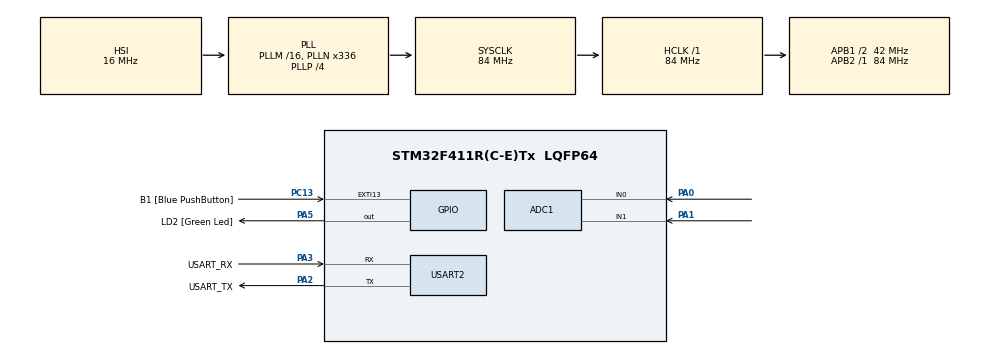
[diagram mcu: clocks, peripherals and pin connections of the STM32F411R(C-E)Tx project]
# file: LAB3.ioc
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Mcu.Family=STM32F4
PC15-OSC32_OUT.Mode=LSE-External-Oscillator
RCC.CortexFreq_Value=84000000
ADC1.Rank-0\#ChannelRegularConversion=1
VP_ADC1_TempSens_Input.Mode=IN-TempSens
PC13-ANTI_TAMP.GPIO_Label=B1 [Blue PushButton]
PA14.GPIO_Label=TCK
PH1\ -\ OSC_OUT.Mode=HSE-External-Clock-Source
RCC.APB1CLKDivider=RCC_HCLK_DIV2
PC14-OSC32_IN.Signal=RCC_OSC32_IN
RCC.SYSCLKSource=RCC_SYSCLKSOURCE_PLLCLK
ProjectManager.StackSize=0x400
PA0-WKUP.Signal=ADCx_IN0
PA13.Signal=SYS_JTMS-SWDIO
PA3.Mode=Asynchronous
PH0\ -\ OSC_IN.Mode=HSE-External-Clock-Source
PH0\ -\ OSC_IN.Signal=RCC_OSC_IN
ProjectManager.TargetToolchain=STM32CubeIDE
RCC.HCLKFreq_Value=84000000
RCC.APB2TimFreq_Value=84000000
PC15-OSC32_OUT.Signal=RCC_OSC32_OUT
PA1.Signal=ADCx_IN1
RCC.AHBFreq_Value=84000000
PA5.Signal=GPIO_Output
ADC1.Channel-0\#ChannelRegularConversion=ADC_CHANNEL_0
RCC.HSE_VALUE=8000000
PH1\ -\ OSC_OUT.Signal=RCC_OSC_OUT
board=NUCLEO-F411RE
PC13-ANTI_TAMP.Signal=GPXTI13
RCC.VCOOutputFreq_Value=336000000
RCC.APB2Freq_Value=84000000
PC14-OSC32_IN.Mode=LSE-External-Oscillator
PA14.Mode=Serial_Wire
SH.ADCx_IN0.0=ADC1_IN0,IN0
PA13.Mode=Serial_Wire
Mcu.Name=STM32F411R(C-E)Tx
ADC1.SamplingTime-0\#ChannelRegularConversion=ADC_SAMPLETIME_3CYCLES
PA2.Signal=USART2_TX
PA13.GPIO_Label=TMS
RCC.FLatency-AdvancedSettings=FLASH_LATENCY_2
RCC.48MHZClocksFreq_Value=84000000
PB3.Signal=SYS_JTDO-SWO
RCC.SYSCLKFreq_VALUE=84000000
Mcu.Package=LQFP64
ADC1.master=1
PA5.GPIO_Label=LD2 [Green Led]
USART2.VirtualMode=VM_ASYNC
PC13-ANTI_TAMP.GPIO_ModeDefaultEXTI=GPIO_MODE_IT_FALLING
PA2.GPIO_Label=USART_TX
PA14.Signal=SYS_JTCK-SWCLK
ProjectManager.HeapSize=0x200
RCC.HSI_VALUE=16000000
RCC.PLLP=RCC_PLLP_DIV4
NVIC.PriorityGroup=NVIC_PRIORITYGROUP_0
ADC1.NbrOfConversionFlag=1
SH.ADCx_IN1.0=ADC1_IN1,IN1
RCC.PLLN=336
RCC.APB1TimFreq_Value=84000000
PA2.Mode=Asynchronous
RCC.APB1Freq_Value=42000000
PA3.GPIO_Label=USART_RX
PA3.Signal=USART2_RX
PB3.GPIO_Label=SWO

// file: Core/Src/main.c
/* USER CODE BEGIN Header */
/**
 ******************************************************************************
 * @file           : main.c
 * @brief          : Main program body
 ******************************************************************************
 * @attention
 *
 * <h2><center>&copy; Copyright (c) 2021 STMicroelectronics.
 * All rights reserved.</center></h2>
 *
 * This software component is licensed by ST under BSD 3-Clause license,
 * the "License"; You may not use this file except in compliance with the
 * License. You may obtain a copy of the License at:
 *                        opensource.org/licenses/BSD-3-Clause
 *
 ******************************************************************************
 */
/* USER CODE END Header */
#include "main.h"

ADC_HandleTypeDef hadc1;

UART_HandleTypeDef huart2;

/* USER CODE BEGIN PV */
uint16_t adcdata[2] = { 0 };

//SwitchState
GPIO_PinState SwitchState[2];

//Given
float ADCOutputConverted = 0;
uint16_t ADCMode = 0;

typedef struct {
	ADC_ChannelConfTypeDef Config;
	uint16_t data;
} ADCStructure;

ADCStructure ADCChannel[3] = { 0 };

/* USER CODE END PV */

void SystemClock_Config(void);
static void MX_GPIO_Init(void);
static void MX_USART2_UART_Init(void);
static void MX_ADC1_Init(void);
/* USER CODE BEGIN PFP */
void ADCPollingMethodInit();
void ADCPollingMethodUpdate();
/* USER CODE END PFP */

int main(void)
{

  /* MCU Configuration--------------------------------------------------------*/

  /* Reset of all peripherals, Initializes the Flash interface and the Systick. */
  HAL_Init();

  /* Configure the system clock */
  SystemClock_Config();

  /* Initialize all configured peripherals */
  MX_GPIO_Init();
  MX_USART2_UART_Init();
  MX_ADC1_Init();
  /* USER CODE BEGIN 2 */
	ADCPollingMethodInit();

  /* USER CODE END 2 */

  /* Infinite loop */
	while (1) {

    /* USER CODE BEGIN 3 */

		ADCPollingMethodUpdate();
		SwitchState[0] = HAL_GPIO_ReadPin(GPIOC, GPIO_PIN_13);
		if (SwitchState[1] == 0 && SwitchState[0] == 1)
		{
			if (ADCMode == 0)
			{
				ADCMode = 1;
			}
			else
			{
				ADCMode = 0;
			}
		}
		SwitchState[1] = SwitchState[0];

		if (ADCMode == 0)
		{
			ADCOutputConverted = (ADCChannel[0].data)*(3.3*1000)/4096;
		}
		if (ADCMode == 1)
		{
			ADCOutputConverted = (((((ADCChannel[2].data)*3.3)/4096) - 0.76)/2.5)+25;
		}
	}
  /* USER CODE END 3 */
}

void SystemClock_Config(void)
{
  RCC_OscInitTypeDef RCC_OscInitStruct = {0};
  RCC_ClkInitTypeDef RCC_ClkInitStruct = {0};

  /** Configure the main internal regulator output voltage
  */
  __HAL_RCC_PWR_CLK_ENABLE();
  __HAL_PWR_VOLTAGESCALING_CONFIG(PWR_REGULATOR_VOLTAGE_SCALE1);
  /** Initializes the RCC Oscillators according to the specified parameters
  * in the RCC_OscInitTypeDef structure.
  */
  RCC_OscInitStruct.OscillatorType = RCC_OSCILLATORTYPE_HSI;
  RCC_OscInitStruct.HSIState = RCC_HSI_ON;
  RCC_OscInitStruct.HSICalibrationValue = RCC_HSICALIBRATION_DEFAULT;
  RCC_OscInitStruct.PLL.PLLState = RCC_PLL_ON;
  RCC_OscInitStruct.PLL.PLLSource = RCC_PLLSOURCE_HSI;
  RCC_OscInitStruct.PLL.PLLM = 16;
  RCC_OscInitStruct.PLL.PLLN = 336;
  RCC_OscInitStruct.PLL.PLLP = RCC_PLLP_DIV4;
  RCC_OscInitStruct.PLL.PLLQ = 4;
  if (HAL_RCC_OscConfig(&RCC_OscInitStruct) != HAL_OK)
  {
    Error_Handler();
  }
  /** Initializes the CPU, AHB and APB buses clocks
  */
  RCC_ClkInitStruct.ClockType = RCC_CLOCKTYPE_HCLK|RCC_CLOCKTYPE_SYSCLK
                              |RCC_CLOCKTYPE_PCLK1|RCC_CLOCKTYPE_PCLK2;
  RCC_ClkInitStruct.SYSCLKSource = RCC_SYSCLKSOURCE_PLLCLK;
  RCC_ClkInitStruct.AHBCLKDivider = RCC_SYSCLK_DIV1;
  RCC_ClkInitStruct.APB1CLKDivider = RCC_HCLK_DIV2;
  RCC_ClkInitStruct.APB2CLKDivider = RCC_HCLK_DIV1;

  if (HAL_RCC_ClockConfig(&RCC_ClkInitStruct, FLASH_LATENCY_2) != HAL_OK)
  {
    Error_Handler();
  }
}

static void MX_ADC1_Init(void)
{

  ADC_ChannelConfTypeDef sConfig = {0};

  /** Configure the global features of the ADC (Clock, Resolution, Data Alignment and number of conversion)
  */
  hadc1.Instance = ADC1;
  hadc1.Init.ClockPrescaler = ADC_CLOCK_SYNC_PCLK_DIV4;
  hadc1.Init.Resolution = ADC_RESOLUTION_12B;
  hadc1.Init.ScanConvMode = DISABLE;
  hadc1.Init.ContinuousConvMode = DISABLE;
  hadc1.Init.DiscontinuousConvMode = DISABLE;
  hadc1.Init.ExternalTrigConvEdge = ADC_EXTERNALTRIGCONVEDGE_NONE;
  hadc1.Init.ExternalTrigConv = ADC_SOFTWARE_START;
  hadc1.Init.DataAlign = ADC_DATAALIGN_RIGHT;
  hadc1.Init.NbrOfConversion = 1;
  hadc1.Init.DMAContinuousRequests = DISABLE;
  hadc1.Init.EOCSelection = ADC_EOC_SINGLE_CONV;
  if (HAL_ADC_Init(&hadc1) != HAL_OK)
  {
    Error_Handler();
  }
  /** Configure for the selected ADC regular channel its corresponding rank in the sequencer and its sample time.
  */
  sConfig.Channel = ADC_CHANNEL_0;
  sConfig.Rank = 1;
  sConfig.SamplingTime = ADC_SAMPLETIME_3CYCLES;
  if (HAL_ADC_ConfigChannel(&hadc1, &sConfig) != HAL_OK)
  {
    Error_Handler();
  }

}

static void MX_USART2_UART_Init(void)
{

  huart2.Instance = USART2;
  huart2.Init.BaudRate = 115200;
  huart2.Init.WordLength = UART_WORDLENGTH_8B;
  huart2.Init.StopBits = UART_STOPBITS_1;
  huart2.Init.Parity = UART_PARITY_NONE;
  huart2.Init.Mode = UART_MODE_TX_RX;
  huart2.Init.HwFlowCtl = UART_HWCONTROL_NONE;
  huart2.Init.OverSampling = UART_OVERSAMPLING_16;
  if (HAL_UART_Init(&huart2) != HAL_OK)
  {
    Error_Handler();
  }

}

static void MX_GPIO_Init(void)
{
  GPIO_InitTypeDef GPIO_InitStruct = {0};

  /* GPIO Ports Clock Enable */
  __HAL_RCC_GPIOC_CLK_ENABLE();
  __HAL_RCC_GPIOH_CLK_ENABLE();
  __HAL_RCC_GPIOA_CLK_ENABLE();
  __HAL_RCC_GPIOB_CLK_ENABLE();

  /*Configure GPIO pin Output Level */
  HAL_GPIO_WritePin(LD2_GPIO_Port, LD2_Pin, GPIO_PIN_RESET);

  /*Configure GPIO pin : PC13 */
  GPIO_InitStruct.Pin = GPIO_PIN_13;
  GPIO_InitStruct.Mode = GPIO_MODE_INPUT;
  GPIO_InitStruct.Pull = GPIO_NOPULL;
  HAL_GPIO_Init(GPIOC, &GPIO_InitStruct);

  /*Configure GPIO pin : LD2_Pin */
  GPIO_InitStruct.Pin = LD2_Pin;
  GPIO_InitStruct.Mode = GPIO_MODE_OUTPUT_PP;
  GPIO_InitStruct.Pull = GPIO_NOPULL;
  GPIO_InitStruct.Speed = GPIO_SPEED_FREQ_LOW;
  HAL_GPIO_Init(LD2_GPIO_Port, &GPIO_InitStruct);

}

/* USER CODE BEGIN 4 */
void ADCPollingMethodInit() {
	//config all ADC Channel
	ADCChannel[0].Config.Channel = ADC_CHANNEL_0;
	ADCChannel[0].Config.Rank = 1;
	ADCChannel[0].Config.SamplingTime = ADC_SAMPLETIME_3CYCLES;

	ADCChannel[1].Config.Channel = ADC_CHANNEL_1;
	ADCChannel[1].Config.Rank = 1;
	ADCChannel[1].Config.SamplingTime = ADC_SAMPLETIME_3CYCLES;

	ADCChannel[2].Config.Channel = ADC_CHANNEL_TEMPSENSOR;
	ADCChannel[2].Config.Rank = 1;
	ADCChannel[2].Config.SamplingTime = ADC_SAMPLETIME_3CYCLES;
}
//Polling Method
void ADCPollingMethodUpdate() {
	//Read all 3 Channel
	for (int i = 0; i < 3; i++) {
		HAL_ADC_ConfigChannel(&hadc1, &ADCChannel[i].Config);
		HAL_ADC_Start(&hadc1);
		HAL_ADC_PollForConversion(&hadc1, 10);
		ADCChannel[i].data = HAL_ADC_GetValue(&hadc1);
		HAL_ADC_Stop(&hadc1);
	}
}
/* USER CODE END 4 */

void Error_Handler(void)
{
	__disable_irq();
	while (1) {
	}
}

/************************ (C) COPYRIGHT STMicroelectronics *****END OF FILE****/
